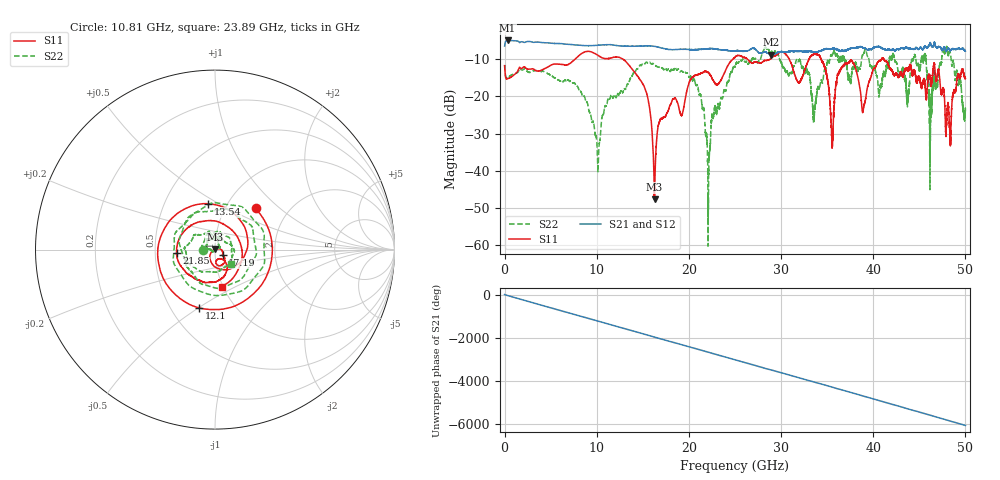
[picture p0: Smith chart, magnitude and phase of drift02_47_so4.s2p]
!Created with skrf (http://scikit-rf.org).
# Hz S RI R 50.0
!freq ReS11 ImS11 ReS21 ImS21 ReS12 ImS12 ReS22 ImS22
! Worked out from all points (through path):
!   10001 points, 300 kHz to 50 GHz, reference 50 ohm
!   highest |S21| = -5.04 dB at 320.3 MHz (marker M1); lowest = -8.9 dB at 28.95 GHz (marker M2)
!   group delay of S21, straight-line fit = 336 ps
!   lowest |S11| = -47.7 dB at 16.27 GHz (marker M3), VSWR 1.01, Z = 49.9 + j0.386 ohm
!   |S11| at or under -10 dB: start of sweep to 7.665 GHz; 12.83 GHz to 24.77 GHz (11.94 GHz wide, 63.5 % of centre); 41.13 GHz to end of sweep (the widest 3 of 12)
!   |S22| runs from -60.2 to -6.6 dB; largest |S21 - S12| = 0.03
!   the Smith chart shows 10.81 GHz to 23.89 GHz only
!   S11 on the Smith chart (normalised r, x): 10.81 GHz: 1.38, +0.70; 12.1 GHz: 0.69, -0.50; 13.54 GHz: 0.82, +0.45; 17.19 GHz: 1.09, -0.06; 21.85 GHz: 0.65, -0.03; 23.89 GHz: 0.99, -0.43
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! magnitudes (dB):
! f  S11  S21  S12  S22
! 300 kHz  -11.8  -6.5  -6.5  -11.7
! 320.3 MHz  -15.3  -5.0  -5.0  -15.1
! 8.335 GHz  -8.6  -6.4  -6.4  -19.1
! 10.11 GHz  -9.0  -6.3  -6.3  -38.7
! 10.81 GHz  -9.9  -6.2  -6.2  -23.6
! 12.1 GHz  -9.5  -6.4  -6.4  -20.4
! 13.54 GHz  -11.8  -6.6  -6.6  -16.0
! 16.27 GHz  -47.7  -6.6  -6.6  -11.7
! 16.67 GHz  -27.9  -6.8  -6.8  -12.2
! 17.19 GHz  -25.7  -7.2  -7.1  -12.7
! 21.85 GHz  -13.4  -7.3  -7.3  -30.9
! 23.89 GHz  -13.6  -7.6  -7.6  -18.5
! 25 GHz  -9.5  -7.8  -7.9  -12.0
! 28.95 GHz  -9.8  -8.9  -8.9  -8.0
! 33.34 GHz  -9.1  -8.0  -8.0  -20.3
! 35.54 GHz  -33.9  -7.3  -7.3  -9.2
! 36.78 GHz  -11.8  -7.9  -7.9  -9.6
! 41.67 GHz  -11.8  -7.4  -7.5  -12.1
! 45.49 GHz  -15.6  -7.1  -7.1  -10.0
! 46.27 GHz  -17.4  -6.2  -6.3  -22.7
! 48.12 GHz  -22.3  -7.2  -7.1  -9.1
! 50 GHz  -15.2  -7.9  -7.8  -23.6
